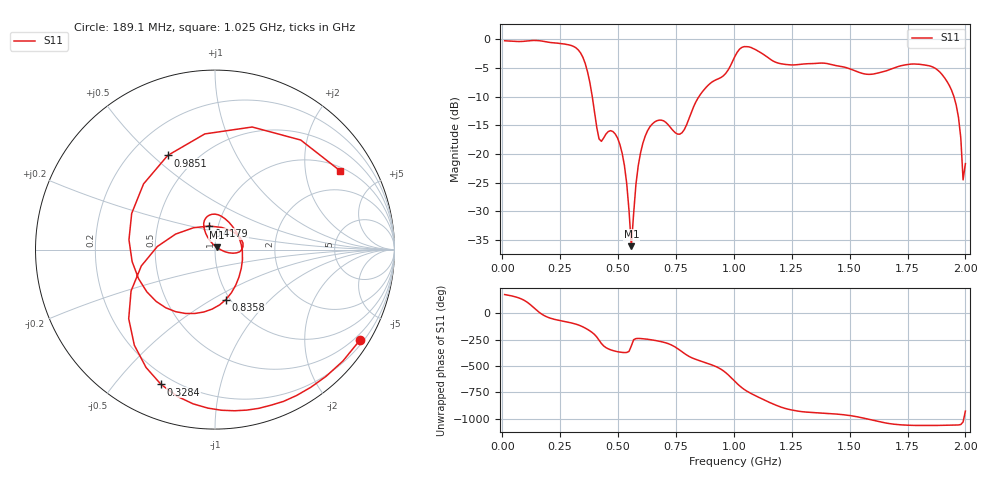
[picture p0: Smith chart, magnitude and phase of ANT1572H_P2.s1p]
!Created with skrf (http://scikit-rf.org).
# Hz S RI R 50.0
!freq ReS11 ImS11
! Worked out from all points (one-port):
!   201 points, 10 MHz to 2 GHz, reference 50 ohm
!   lowest |S11| = -36.1 dB at 557.2 MHz (marker M1), VSWR 1.03, Z = 51 + j1.22 ohm
!   |S11| at or under -10 dB: 388.7 MHz to 849 MHz (460.4 MHz wide, 74.4 % of centre); 1.951 GHz to end of sweep
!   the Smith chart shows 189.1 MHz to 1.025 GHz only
!   S11 on the Smith chart (normalised r, x): 189.1 MHz: 0.32, -3.47; 328.4 MHz: 0.15, -0.67; 417.9 MHz: 0.91, +0.24; 835.9 MHz: 0.96, -0.58; 985.1 MHz: 0.35, +0.56; 1.025 GHz: 1.13, +3.08
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1e7  -0.9711 0.0683
7.965e7  -0.701 0.655
1.1945e8  0.1108 0.9697
1.493e8  0.88 0.4267
1.891e8  0.8087 -0.5029
2.5875e8  0.2444 -0.8843
3.284e8  -0.3003 -0.7515
3.682e8  -0.4677 -0.2306
4.1795e8  -0.0327 0.1312
5.075e8  0.1204 -0.0181
5.5725e8  0.0101 0.012
6.1695e8  -0.0623 0.1285
7.5625e8  0.1345 0.0652
8.3585e8  0.0611 -0.2781
9.254e8  -0.3797 -0.2355
9.851e8  -0.2637 0.5244
1.005e9  0.2073 0.683
1.0249e9  0.6965 0.4394
1.05475e9  0.8313 -0.2392
1.1045e9  0.2276 -0.7581
1.17415e9  -0.516 -0.38
1.25375e9  -0.5698 0.1846
1.5025e9  -0.1945 0.5171
1.75125e9  0.5701 0.2022
1.93035e9  0.3736 0.1355
1.97015e9  0.1939 0.0779
1.99005e9  0.038 0.0458
2e9  -0.0732 0.0379
